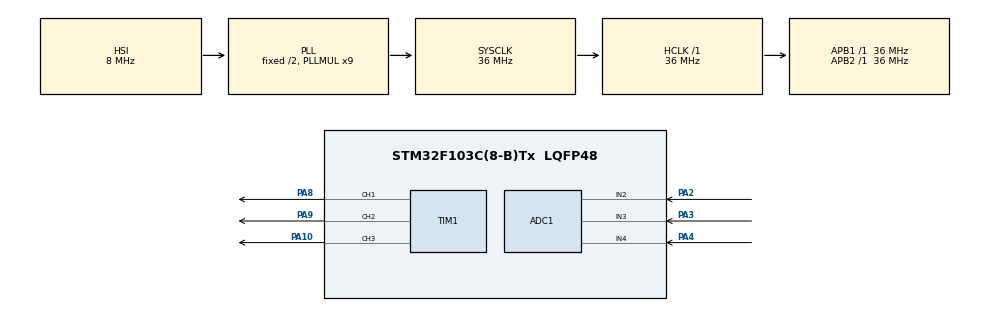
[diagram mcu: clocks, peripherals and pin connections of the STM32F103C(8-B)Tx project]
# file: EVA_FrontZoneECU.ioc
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ADC1.Channel-0\#ChannelRegularConversion=ADC_CHANNEL_2
ADC1.Channel-1\#ChannelRegularConversion=ADC_CHANNEL_2
ADC1.Channel-2\#ChannelRegularConversion=ADC_CHANNEL_2
ADC1.ContinuousConvMode=ENABLE
ADC1.NbrOfConversion=3
ADC1.NbrOfConversionFlag=1
ADC1.Rank-0\#ChannelRegularConversion=1
ADC1.Rank-1\#ChannelRegularConversion=2
ADC1.Rank-2\#ChannelRegularConversion=3
ADC1.SamplingTime-0\#ChannelRegularConversion=ADC_SAMPLETIME_1CYCLE_5
ADC1.SamplingTime-1\#ChannelRegularConversion=ADC_SAMPLETIME_1CYCLE_5
ADC1.SamplingTime-2\#ChannelRegularConversion=ADC_SAMPLETIME_1CYCLE_5
ADC1.master=1
Dma.Request0=TIM1_CH1
Dma.Request1=TIM1_CH2
Dma.Request2=TIM1_CH3
Dma.TIM1_CH1.0.Direction=DMA_MEMORY_TO_PERIPH
Dma.TIM1_CH1.0.Instance=DMA1_Channel2
Dma.TIM1_CH1.0.MemDataAlignment=DMA_MDATAALIGN_BYTE
Dma.TIM1_CH1.0.MemInc=DMA_MINC_ENABLE
Dma.TIM1_CH1.0.Mode=DMA_NORMAL
Dma.TIM1_CH1.0.PeriphDataAlignment=DMA_PDATAALIGN_HALFWORD
Dma.TIM1_CH1.0.PeriphInc=DMA_PINC_DISABLE
Dma.TIM1_CH1.0.Priority=DMA_PRIORITY_LOW
Dma.TIM1_CH2.1.Direction=DMA_MEMORY_TO_PERIPH
Dma.TIM1_CH2.1.Instance=DMA1_Channel3
Dma.TIM1_CH2.1.MemDataAlignment=DMA_MDATAALIGN_BYTE
Dma.TIM1_CH2.1.MemInc=DMA_MINC_ENABLE
Dma.TIM1_CH2.1.Mode=DMA_NORMAL
Dma.TIM1_CH2.1.PeriphDataAlignment=DMA_PDATAALIGN_HALFWORD
Dma.TIM1_CH2.1.PeriphInc=DMA_PINC_DISABLE
Dma.TIM1_CH2.1.Priority=DMA_PRIORITY_LOW
Dma.TIM1_CH3.2.Direction=DMA_MEMORY_TO_PERIPH
Dma.TIM1_CH3.2.Instance=DMA1_Channel6
Dma.TIM1_CH3.2.MemDataAlignment=DMA_MDATAALIGN_BYTE
Dma.TIM1_CH3.2.MemInc=DMA_MINC_ENABLE
Dma.TIM1_CH3.2.Mode=DMA_NORMAL
Dma.TIM1_CH3.2.PeriphDataAlignment=DMA_PDATAALIGN_HALFWORD
Dma.TIM1_CH3.2.PeriphInc=DMA_PINC_DISABLE
Dma.TIM1_CH3.2.Priority=DMA_PRIORITY_LOW
Mcu.Family=STM32F1
Mcu.Name=STM32F103C(8-B)Tx
Mcu.Package=LQFP48
NVIC.DMA1_Channel2_IRQn=true\:0\:0\:false\:false\:true\:false\:true\:true
NVIC.DMA1_Channel3_IRQn=true\:0\:0\:false\:false\:true\:false\:true\:true
NVIC.DMA1_Channel6_IRQn=true\:0\:0\:false\:false\:true\:false\:true\:true
NVIC.PriorityGroup=NVIC_PRIORITYGROUP_4
NimaLTD.I-CUBE-WS28XX.3.0.0.DriverJjWS28XX=true
PA10.Signal=S_TIM1_CH3
PA2.Signal=ADCx_IN2
PA3.Signal=ADCx_IN3
PA4.Signal=ADCx_IN4
PA8.Signal=S_TIM1_CH1
PA9.Signal=S_TIM1_CH2
ProjectManager.HeapSize=0x200
ProjectManager.StackSize=0x400
ProjectManager.TargetToolchain=STM32CubeIDE
RCC.ADCPresc=RCC_ADCPCLK2_DIV4
RCC.AHBFreq_Value=36000000
RCC.APB1Freq_Value=36000000
RCC.APB1TimFreq_Value=36000000
RCC.APB2Freq_Value=36000000
RCC.APB2TimFreq_Value=36000000
RCC.HCLKFreq_Value=36000000
RCC.PLLMUL=RCC_PLL_MUL9
RCC.SYSCLKFreq_VALUE=36000000
RCC.SYSCLKSource=RCC_SYSCLKSOURCE_PLLCLK
RCC.USBFreq_Value=36000000
SH.ADCx_IN2.0=ADC1_IN2,IN2
SH.ADCx_IN3.0=ADC1_IN3,IN3
SH.ADCx_IN4.0=ADC1_IN4,IN4
SH.S_TIM1_CH1.0=TIM1_CH1,PWM Generation1 CH1
SH.S_TIM1_CH2.0=TIM1_CH2,PWM Generation2 CH2
SH.S_TIM1_CH3.0=TIM1_CH3,PWM Generation3 CH3
TIM1.Channel-PWM\ Generation1\ CH1=TIM_CHANNEL_1
TIM1.Channel-PWM\ Generation2\ CH2=TIM_CHANNEL_2
TIM1.Channel-PWM\ Generation3\ CH3=TIM_CHANNEL_3
VP_NimaLTD.I-CUBE-WS28XX_VS_DriverJjWS28XX_1.0.0_3.0.0.Mode=DriverJjWS28XX
VP_SYS_VS_ND.Mode=No_Debug
VP_TIM1_VS_ClockSourceINT.Mode=Internal
board=custom

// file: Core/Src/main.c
/* USER CODE BEGIN Header */
/**
  ******************************************************************************
  * @file           : main.c
  * @brief          : Main program body
  ******************************************************************************
  * @attention
  *
  * Copyright (c) 2024 STMicroelectronics.
  * All rights reserved.
  *
  * This software is licensed under terms that can be found in the LICENSE file
  * in the root directory of this software component.
  * If no LICENSE file comes witstmh this software, it is provided AS-IS.
  *
  ******************************************************************************
  */
/* USER CODE END Header */
#include "main.h"
#include "adc.h"
#include "dma.h"
#include "tim.h"
#include "gpio.h"

/* USER CODE BEGIN Includes */
#include "ws28xx.h"
#include "math.h"
#include "stdlib.h"
#include "stdbool.h"
#include "stdio.h"
/* USER CODE END Includes */

/* USER CODE BEGIN PTD */
// Enum to define different LED states
typedef enum {
    DRL_MODE,          // Daytime running lights
    TURN_SIGNAL_MODE,  // Turn signal active
    HAZARD_LIGHT_MODE, // Hazard/parking light active
    STARTUP_MODE,      // Startup blinking mode
	CHARGING_MODE,
	BREATHING_MODE,
	OFF_MODE
} LED_Mode;

typedef enum {
    HORN_OFF,
    HORN_ON
} HornState;

typedef enum {
    HEADLAMP_OFF,
    HEADLAMP_LOW_BEAM,
    HEADLAMP_HIGH_BEAM
} HeadlampState;

typedef struct {
    uint8_t stable_value;
    uint8_t last_value;
    uint32_t last_debounce_time;
    uint8_t sample_count;
} DebounceState;

enum pinstate { no_change = 0, rising_edge = 1, falling_edge = 2};
/* USER CODE END PTD */

/* USER CODE BEGIN PD */
#define Clock_Frequency 36000 //KHz
#define WS28XX_LEFT_LED_COUNT 25
#define WS28XX_MIDDLE_LED_COUNT 152
#define WS28XX_RIGHT_LED_COUNT 25

#define WAVE_PACKET_SIZE 9
#define WAVE_SPEED 5 // Increase number to reduce speed
#define WAVE_STEP_SIZE 1
#define WAVE_PAUSE 10

#define HAZARD_BLINK_DELAY 500
#define DRL_BRIGHTNESS 200

#define WAVE_PACKET_SIZE_MIDDLE 4
#define STARTUP_WAVE_SPEED 1 // Increase number to reduce speed
#define MIDDLE_LED_MID_INDEX (WS28XX_MIDDLE_LED_COUNT / 2)
#define CHARGING_COLOR_AC 0x07FF
#define CHARGING_COLOR_DC 0x2444

#define AC_CHARGING 1
#define DC_CHARGING 2

#define BREATHING_DURATION 1

#define BAUD_RATE 9600
#define debounceDelay 10
#define debounceSamplesCount 5
#define DRL_REFRESH_TIME 1000
#define DEBOUNCE_DELAY 50 // 50ms debounce delay
#define DEBOUNCE_SAMPLES 5 // Minimum samples required for stable state
// Define Test_Mode to run in the test mode, this tests if the software is able to run the hardware in different states.
//#define TEST_MODE 1
#ifdef TEST_MODE
#define TOGGLE_INTERVAL 10000         // 10 seconds for state transitions
#define HORN_ON_DURATION 300          // Horn should be on for 300 ms
#endif

// Define TEST_MODE for testing state machines
//#define TEST_MODE 1
/* USER CODE END PD */

/* USER CODE BEGIN PV */
WS28XX_HandleTypeDef ws_pa8;
WS28XX_HandleTypeDef ws_pa9;
WS28XX_HandleTypeDef ws_pa10;

LED_Mode current_mode_pa8 = DRL_MODE;
LED_Mode current_mode_pa9 = DRL_MODE;
LED_Mode current_mode_pa10 = DRL_MODE;

HornState current_horn_state = HORN_OFF;
HeadlampState current_headlamp_state = HEADLAMP_OFF;

int frame_pa8 = 0, frame_pa9 = 0, frame_pa10 = 0;
int wave_count = 0;
int drl_wave_complete_middle = 0;  // Flag to indicate when the middle strip completes DRL wave
int is_drl_displayed_pa8 = 0;      // Flag for DRL display status for left strip
int is_drl_displayed_pa10 = 0;     // Flag for DRL display status for right strip
int is_drl_displayed_pa9 = 0;      // Flag for middle strip to avoid flickering

int soc_percentage = 40;  // Example value

// Control signals
int charging_signal_received = 0, drl_signal_received = 0, hazard_signal_received = 0, startup_signal_received = 1;
int turn_signal_left_received = 0, turn_signal_right_received = 0;
int horn_signal_received = 0, headlamp_low_beam_signal_received = 0, headlamp_high_beam_signal_received = 0;
int breathing_signal_received = 0;  // Breathing mode control

//uint8_t UART_received_byte = 0;
uint16_t adc_val_pa3, adc_val_pa2, adc_val_pa4;
float voltage_pa3, voltage_pa2, voltage_pa4;
const float VREF = 3.3;

static DebounceState brake_state = {1, 1, 0, 0}; // Because this signal is active low
static DebounceState horn_state = {1, 1, 0, 0};  // Because this signal is active low
static DebounceState reverse_state = {0, 0, 0, 0};
// Global debounce state for steering flags
static DebounceState turn_signal_left_flag = {0};
static DebounceState turn_signal_right_flag = {0};
static DebounceState headlamp_low_beam_flag = {0};
static DebounceState headlamp_high_beam_flag = {0};
static DebounceState drl_flag = {0};

uint8_t turn_signal_left_raw = 0;
uint8_t turn_signal_right_raw = 0;
uint8_t headlamp_low_raw = 0;
uint8_t headlamp_high_raw = 0;
uint8_t drl_signal_received_raw = 0;

#ifdef TEST_MODE
/* Variables for Test Mode */
uint32_t last_time_middle_strip = 0;  // Timing for middle strip
uint32_t last_time_left_strip = 0;    // Timing for left side strip
uint32_t last_time_right_strip = 0;   // Timing for right side strip
uint32_t last_time_side_strip = 0;
uint32_t last_time_horn = 0;          // Timing for horn
uint32_t last_time_headlamp = 0;      // Timing for headlamp
uint32_t current_time = 0;            // Horn should be on for 300 ms
#endif

/* USER CODE END PV */

void SystemClock_Config(void);
/* USER CODE BEGIN PFP */
void UpdateWaveEffect(WS28XX_HandleTypeDef* ws, int frame, int pixel_count, int direction);
void UpdateDRLMode(WS28XX_HandleTypeDef* ws, int pixel_count, int* is_drl_displayed_flag);
void UpdateHazardBlink(int led_count);
void ResetLEDStrip(WS28XX_HandleTypeDef* ws, int pixel_count);
void UpdateStartupWaveForMiddle(WS28XX_HandleTypeDef* ws);
void UpdateSOCIndication(WS28XX_HandleTypeDef* ws, int soc_percentage, int charging_type);
void HandleMiddleStripState(void);
void HandleLeftStripState(void);
void HandleRightStripState(void);
void HandleHornState(void);
void HandleHeadlampState(void);
void SetGPIOHigh(GPIO_TypeDef* GPIOx, uint16_t GPIO_Pin);
void SetGPIOLow(GPIO_TypeDef* GPIOx, uint16_t GPIO_Pin);
void GPIO_Init_PA0_PA1_PA6(void);
void UART_Init(void);
void UART_Send(uint8_t data);
bool UART_Receive(uint8_t *data, uint32_t timeout);
void ProcessUARTMessage(uint8_t received_byte);
void UART_ReceiveAndProcess(void);
void BreathingEffect(WS28XX_HandleTypeDef* ws, int duration);
void ADC_Select_CH3 (void);
void ADC_Select_CH4 (void);
void ADC_Select_CH2 (void);
void readSteeringControls(void);
void readBrakeSwitch(void);
void readReverseGear(void);
void readHorn(void);
void Init_InputPins(void);
void InitFastOutputPins(void);
void ADC_Select_CH5(void);
void ADC_Select_CH7(void);
void readHazardSwitch(void);
void DebounceFlag(DebounceState* flag_state, uint8_t raw_value);
uint8_t DetectEdge(GPIO_TypeDef* GPIOx, uint16_t GPIO_Pin, uint32_t debounce_delay);
int DebounceHazardPin(GPIO_TypeDef* GPIOx, uint16_t GPIO_Pin, uint32_t debounce_delay);
void DebounceInput(GPIO_TypeDef* GPIOx, uint16_t GPIO_Pin, DebounceState* state);
#ifdef TEST_MODE
void Handle_TestMode(void);
#endif

/* USER CODE END PFP */

int main(void)
{

  /* MCU Configuration--------------------------------------------------------*/

  /* Reset of all peripherals, Initializes the Flash interface and the Systick. */
  HAL_Init();

  /* Configure the system clock */
  SystemClock_Config();

  /* Initialize all configured peripherals */
  MX_GPIO_Init();
  MX_DMA_Init();
  MX_TIM1_Init();
  MX_ADC1_Init();
  GPIO_Init_PA0_PA1_PA6();
  InitFastOutputPins();
  /* USER CODE BEGIN 2 */
  WS28XX_Init(&ws_pa8, &htim1, 36, TIM_CHANNEL_1, WS28XX_LEFT_LED_COUNT);   // Initialize for PA8
  WS28XX_Init(&ws_pa9, &htim1, 36, TIM_CHANNEL_2, WS28XX_MIDDLE_LED_COUNT); // Initialize for PA9 (middle strip)
  WS28XX_Init(&ws_pa10, &htim1, 36, TIM_CHANNEL_3, WS28XX_RIGHT_LED_COUNT); // Initialize for PA10
  SetGPIOHigh(GPIOA, GPIO_PIN_0);  //  Horn Off
  SetGPIOHigh(GPIOA, GPIO_PIN_1);  //  Head Lamp off
  SetGPIOHigh(GPIOA, GPIO_PIN_6);  //  in Low Beam Mode
  Init_InputPins();
  /* USER CODE END 2 */

  /* Infinite loop */
  /* USER CODE BEGIN WHILE */
  while (1)
  {
//	  HAL_GPIO_WritePin(GPIOB, GPIO_PIN_2, GPIO_PIN_SET);
	// ========================
	// Handle UART Communication
	// ========================
       // UART_ReceiveAndProcess();

	// ========================
	// Handle Inputs and Update Flags
	// ========================
	readBrakeSwitch();
	readSteeringControls();
	readHorn();
	readReverseGear();
	readHazardSwitch();

	#ifdef TEST_MODE
	    Handle_TestMode();  // Call the test mode handler
	#endif
	// ========================
	// Handle State Machines
	// ========================
	  HandleMiddleStripState();
	  HandleLeftStripState();
	  HandleRightStripState();
	  HandleHornState();
	  HandleHeadlampState();
    /* USER CODE END WHILE */

  }
}

void SystemClock_Config(void)
{
  RCC_OscInitTypeDef RCC_OscInitStruct = {0};
  RCC_ClkInitTypeDef RCC_ClkInitStruct = {0};
  RCC_PeriphCLKInitTypeDef PeriphClkInit = {0};

  /** Initializes the RCC Oscillators according to the specified parameters
  * in the RCC_OscInitTypeDef structure.
  */
  RCC_OscInitStruct.OscillatorType = RCC_OSCILLATORTYPE_HSI;
  RCC_OscInitStruct.HSIState = RCC_HSI_ON;
  RCC_OscInitStruct.HSICalibrationValue = RCC_HSICALIBRATION_DEFAULT;
  RCC_OscInitStruct.PLL.PLLState = RCC_PLL_ON;
  RCC_OscInitStruct.PLL.PLLSource = RCC_PLLSOURCE_HSI_DIV2;
  RCC_OscInitStruct.PLL.PLLMUL = RCC_PLL_MUL9;
  if (HAL_RCC_OscConfig(&RCC_OscInitStruct) != HAL_OK)
  {
    Error_Handler();
  }

  /** Initializes the CPU, AHB and APB buses clocks
  */
  RCC_ClkInitStruct.ClockType = RCC_CLOCKTYPE_HCLK|RCC_CLOCKTYPE_SYSCLK
                              |RCC_CLOCKTYPE_PCLK1|RCC_CLOCKTYPE_PCLK2;
  RCC_ClkInitStruct.SYSCLKSource = RCC_SYSCLKSOURCE_PLLCLK;
  RCC_ClkInitStruct.AHBCLKDivider = RCC_SYSCLK_DIV1;
  RCC_ClkInitStruct.APB1CLKDivider = RCC_HCLK_DIV1;
  RCC_ClkInitStruct.APB2CLKDivider = RCC_HCLK_DIV1;

  if (HAL_RCC_ClockConfig(&RCC_ClkInitStruct, FLASH_LATENCY_1) != HAL_OK)
  {
    Error_Handler();
  }
  PeriphClkInit.PeriphClockSelection = RCC_PERIPHCLK_ADC;
  PeriphClkInit.AdcClockSelection = RCC_ADCPCLK2_DIV4;
  if (HAL_RCCEx_PeriphCLKConfig(&PeriphClkInit) != HAL_OK)
  {
    Error_Handler();
  }
}

/* USER CODE BEGIN 4 */
void Init_InputPins(void)
{
    GPIO_InitTypeDef GPIO_InitStruct = {0};

    // Enable clock for GPIO ports
    __HAL_RCC_GPIOB_CLK_ENABLE();
    __HAL_RCC_GPIOA_CLK_ENABLE();

    // PB12 (Horn), PB13 (Hazard), PB3 (Brake fluid): Floating if inactive, pulled down when active
    GPIO_InitStruct.Pin = GPIO_PIN_12 | GPIO_PIN_13 | GPIO_PIN_3;
    GPIO_InitStruct.Mode = GPIO_MODE_INPUT;
    GPIO_InitStruct.Pull = GPIO_PULLUP;
    HAL_GPIO_Init(GPIOB, &GPIO_InitStruct);

    // PB15 (Brake) (3.3V when inactive, GND when brake switch pressed)
    GPIO_InitStruct.Pin = GPIO_PIN_15;
    GPIO_InitStruct.Mode = GPIO_MODE_INPUT;
    GPIO_InitStruct.Pull = GPIO_PULLUP;
    HAL_GPIO_Init(GPIOB, &GPIO_InitStruct);

    // PA12 (Reverse): Pulled up when active
    GPIO_InitStruct.Pin = GPIO_PIN_12;
    GPIO_InitStruct.Mode = GPIO_MODE_INPUT;
    GPIO_InitStruct.Pull = GPIO_NOPULL;
    HAL_GPIO_Init(GPIOA, &GPIO_InitStruct);

    GPIO_InitStruct.Pin = GPIO_PIN_2;
    GPIO_InitStruct.Mode = GPIO_MODE_OUTPUT_PP; // Push-pull mode
    GPIO_InitStruct.Pull = GPIO_NOPULL;
    GPIO_InitStruct.Speed = GPIO_SPEED_FREQ_LOW; // High-speed configuration
    HAL_GPIO_Init(GPIOB, &GPIO_InitStruct);
}

void InitFastOutputPins(void)
{
    GPIO_InitTypeDef GPIO_InitStruct = {0};

    // Enable the GPIOB clock
    __HAL_RCC_GPIOB_CLK_ENABLE();

    // Configure PB4 to PB9 as fast outputs with pull-down resistors
    GPIO_InitStruct.Pin = GPIO_PIN_4 | GPIO_PIN_5 | GPIO_PIN_6 | GPIO_PIN_7 | GPIO_PIN_8 | GPIO_PIN_9;
    GPIO_InitStruct.Mode = GPIO_MODE_OUTPUT_PP; // Push-pull mode
    GPIO_InitStruct.Pull = GPIO_PULLDOWN;       // Enable pull-down resistors
    GPIO_InitStruct.Speed = GPIO_SPEED_FREQ_HIGH; // High-speed configuration
    HAL_GPIO_Init(GPIOB, &GPIO_InitStruct);

    // Set all pins to their default inactive state (low)
    HAL_GPIO_WritePin(GPIOB, GPIO_PIN_4 | GPIO_PIN_5 | GPIO_PIN_6 | GPIO_PIN_7 | GPIO_PIN_8 | GPIO_PIN_9, GPIO_PIN_RESET);

    // Configure PB4 to PB9 as fast outputs with pull-down resistors
    GPIO_InitStruct.Pin = GPIO_PIN_1;
    GPIO_InitStruct.Mode = GPIO_MODE_OUTPUT_PP; // Push-pull mode
    GPIO_InitStruct.Pull = GPIO_NOPULL;
    GPIO_InitStruct.Speed = GPIO_SPEED_FREQ_HIGH; // High-speed configuration
    HAL_GPIO_Init(GPIOB, &GPIO_InitStruct);

    HAL_GPIO_WritePin(GPIOB, GPIO_PIN_1, GPIO_PIN_SET); // Driving relay, inactive state is GPIO pin set
}

void GPIO_Init_PA0_PA1_PA6(void)
{
    // Enable GPIOA clock (assuming it's AHB1 on your microcontroller)
    RCC->APB2ENR |= RCC_APB2ENR_IOPAEN;  // Enable clock for GPIOA

    // Configure PA0, PA1, PA6 as output, push-pull, high-speed

    // PA0 Configuration
    GPIOA->CRL &= ~GPIO_CRL_CNF0;   // Clear CNF0[1:0] (set as push-pull)
    GPIOA->CRL |= GPIO_CRL_MODE0_1 | GPIO_CRL_MODE0_0;  // Set MODE0 to 11 (high-speed output 50 MHz)
    GPIOA->ODR |= GPIO_ODR_ODR0;  // Set PA0 high

    // PA1 Configuration
    GPIOA->CRL &= ~GPIO_CRL_CNF1;   // Clear CNF1[1:0] (set as push-pull)
    GPIOA->CRL |= GPIO_CRL_MODE1_1 | GPIO_CRL_MODE1_0;  // Set MODE1 to 11 (high-speed output 50 MHz)

    // PA6 Configuration
    GPIOA->CRL &= ~GPIO_CRL_CNF6;   // Clear CNF6[1:0] (set as push-pull)
    GPIOA->CRL |= GPIO_CRL_MODE6_1 | GPIO_CRL_MODE6_0;  // Set MODE6 to 11 (high-speed output 50 MHz)

    // Set PA0, PA1, PA6 initially to high (deactivate relays)
    GPIOA->ODR |= GPIO_ODR_ODR0;  // Set PA0 high
    GPIOA->ODR |= GPIO_ODR_ODR1;  // Set PA1 high
    GPIOA->ODR |= GPIO_ODR_ODR6;  // Set PA6 high
}

void HandleMiddleStripState(void) {
	// Adjusted priority code for setting current_mode_pa9
	if (charging_signal_received) {
	    current_mode_pa9 = CHARGING_MODE;  // Highest priority: Charging mode
	} else if (drl_signal_received) {
	    current_mode_pa9 = DRL_MODE;       // Next priority: DRL mode if charging is inactive
	} else if (breathing_signal_received) {
	    current_mode_pa9 = BREATHING_MODE; // Next: Breathing mode if no charging or DRL
	} else if (startup_signal_received){
	    current_mode_pa9 = STARTUP_MODE;   // Default to startup mode if no other signals are active
	}else
	{
		current_mode_pa9 = OFF_MODE;
	}

    switch (current_mode_pa9) {
        case CHARGING_MODE:
            UpdateSOCIndication(&ws_pa9, soc_percentage, DC_CHARGING);
            is_drl_displayed_pa9 = 0;
            break;
        case DRL_MODE:
            UpdateDRLMode(&ws_pa9, WS28XX_MIDDLE_LED_COUNT, &is_drl_displayed_pa9);
            break;
        case BREATHING_MODE:
            BreathingEffect(&ws_pa9, BREATHING_DURATION);  // Custom breathing color
            break;
        case STARTUP_MODE:
            UpdateStartupWaveForMiddle(&ws_pa9);
            is_drl_displayed_pa9 = 0;
            break;
        case OFF_MODE:
            ResetLEDStrip(&ws_pa9, WS28XX_MIDDLE_LED_COUNT);
            HAL_Delay(6);
            HAL_TIM_PWM_Stop_DMA(&htim1, TIM_CHANNEL_2);
            is_drl_displayed_pa9 = 0;
            break;
        default:
        	ResetLEDStrip(&ws_pa9, WS28XX_MIDDLE_LED_COUNT);
        	HAL_Delay(6);
        	HAL_TIM_PWM_Stop_DMA(&htim1, TIM_CHANNEL_2);
        	is_drl_displayed_pa9 = 0;
    }
}

void HandleLeftStripState(void) {
    static uint32_t last_blink_time_left = 0;
    uint32_t current_time = HAL_GetTick();
    static uint8_t blink_state_left = 0;

    // Priority management for left strip
    if (charging_signal_received) {
        if (hazard_signal_received) {
            current_mode_pa8 = TURN_SIGNAL_MODE;
        } else {
            current_mode_pa8 = CHARGING_MODE;
        }
    } else if (hazard_signal_received || turn_signal_left_received) {
//        current_mode_pa8 = HAZARD_LIGHT_MODE;
    	current_mode_pa8 = TURN_SIGNAL_MODE;
    } else if (drl_signal_received && !hazard_signal_received && !turn_signal_left_received) {
        current_mode_pa8 = DRL_MODE;
    } else {
        current_mode_pa8 = OFF_MODE;
    }

    // State machine for left strip (PA8)
    switch (current_mode_pa8) {
        case CHARGING_MODE:
            ResetLEDStrip(&ws_pa8, WS28XX_LEFT_LED_COUNT);
            is_drl_displayed_pa8 = 0;
            break;

//        case HAZARD_LIGHT_MODE:
////            if (current_time - last_blink_time_left >= HAZARD_BLINK_DELAY) {
////                blink_state_left = !blink_state_left; // Toggle blink state
////                if (blink_state_left)
////                {
////                    // Set all LEDs to amber
////                    for (int i = 0; i < WS28XX_LEFT_LED_COUNT; i++) {
////                        WS28XX_SetPixel_RGBW_565(&ws_pa8, i, COLOR_RGB565_AMBER, 255);
////                    }
////                    WS28XX_Update(&ws_pa8);
////                } else
////                {
////                    // Reset all LEDs to off
////                    ResetLEDStrip(&ws_pa8, WS28XX_LEFT_LED_COUNT);
////                }
////                last_blink_time_left = current_time; // Update last blink timestamp
////            }
////            is_drl_displayed_pa8 = 0; // Reset DRL flag
//            break;

        case TURN_SIGNAL_MODE:
            if (current_time - last_blink_time_left >= HAZARD_BLINK_DELAY) {
                blink_state_left = !blink_state_left; // Toggle blink state
                if (blink_state_left)
                {
                    // Set all LEDs to amber
                    for (int i = 0; i < WS28XX_LEFT_LED_COUNT; i++) {
                        WS28XX_SetPixel_RGBW_565(&ws_pa8, i, COLOR_RGB565_AMBER, 255);
                    }
                    WS28XX_Update(&ws_pa8);
                } else
                {
                    // Reset all LEDs to off
                    ResetLEDStrip(&ws_pa8, WS28XX_LEFT_LED_COUNT);
                }
                last_blink_time_left = current_time; // Update last blink timestamp
            }
            is_drl_displayed_pa8 = 0; // Reset DRL flag
            break;

        case DRL_MODE:
            frame_pa8 = 0;
            UpdateDRLMode(&ws_pa8, WS28XX_LEFT_LED_COUNT, &is_drl_displayed_pa8);
            break;

        case OFF_MODE:
            frame_pa8 = 0;
            ResetLEDStrip(&ws_pa8, WS28XX_LEFT_LED_COUNT);
            is_drl_displayed_pa8 = 0;
            break;

        default:
            current_mode_pa8 = DRL_MODE;
            break;
    }
}

void HandleRightStripState(void) {
    static uint32_t last_blink_time_right = 0;
    uint32_t current_time = HAL_GetTick();
    static uint8_t blink_state_right = 0;

    // Priority management for right strip
    if (charging_signal_received) {
        if (hazard_signal_received) {
            current_mode_pa10 = TURN_SIGNAL_MODE;
        } else {
            current_mode_pa10 = CHARGING_MODE;
        }
    } else if (hazard_signal_received||turn_signal_right_received) {
//        current_mode_pa10 = HAZARD_LIGHT_MODE;
//    } else if (turn_signal_right_received && !hazard_signal_received) {
        current_mode_pa10 = TURN_SIGNAL_MODE;
    } else if (drl_signal_received && !hazard_signal_received && !turn_signal_right_received) {
        current_mode_pa10 = DRL_MODE;
    } else {
        current_mode_pa10 = OFF_MODE;
    }

    // State machine for right strip (PA10)
    switch (current_mode_pa10) {
        case CHARGING_MODE:
            ResetLEDStrip(&ws_pa10, WS28XX_RIGHT_LED_COUNT);
            is_drl_displayed_pa10 = 0;
            break;

//        case HAZARD_LIGHT_MODE:
//            if (current_time - last_blink_time_right >= HAZARD_BLINK_DELAY) {
//                blink_state_right = !blink_state_right; // Toggle blink state
//                if (blink_state_right)
//                {
//                    // Set all LEDs to amber
//                    for (int i = 0; i < WS28XX_RIGHT_LED_COUNT; i++) {
//                        WS28XX_SetPixel_RGBW_565(&ws_pa10, i, COLOR_RGB565_AMBER, 255);
//                    }
//                    WS28XX_Update(&ws_pa10);
//                } else
//                {
//                    // Reset all LEDs to off
//                    ResetLEDStrip(&ws_pa10, WS28XX_RIGHT_LED_COUNT);
//                }
//                last_blink_time_right = current_time; // Update last blink timestamp
//            }
//            is_drl_displayed_pa10 = 0; // Reset DRL flag
//            break;

        case TURN_SIGNAL_MODE:
            if (current_time - last_blink_time_right >= HAZARD_BLINK_DELAY) {
                blink_state_right = !blink_state_right; // Toggle blink state
                if (blink_state_right)
                {
                    // Set all LEDs to amber
                    for (int i = 0; i < WS28XX_RIGHT_LED_COUNT; i++) {
                        WS28XX_SetPixel_RGBW_565(&ws_pa10, i, COLOR_RGB565_AMBER, 255);
                    }
                    WS28XX_Update(&ws_pa10);
                } else
                {
                    // Reset all LEDs to off
                    ResetLEDStrip(&ws_pa10, WS28XX_RIGHT_LED_COUNT);
                }
                last_blink_time_right = current_time; // Update last blink timestamp
            }
            is_drl_displayed_pa10 = 0; // Reset DRL flag
            break;

        case DRL_MODE:
            frame_pa10 = 0;
            UpdateDRLMode(&ws_pa10, WS28XX_RIGHT_LED_COUNT, &is_drl_displayed_pa10);
            break;

        case OFF_MODE:
            frame_pa10 = 0;
            ResetLEDStrip(&ws_pa10, WS28XX_RIGHT_LED_COUNT);
            is_drl_displayed_pa10 = 0;
            break;

        default:
            current_mode_pa10 = DRL_MODE;
            break;
    }
}

void UpdateWaveEffect(WS28XX_HandleTypeDef* ws, int frame, int pixel_count, int direction)
{
    ResetLEDStrip(ws, pixel_count);

    for (int i = 0; i < pixel_count; i++) {
        int pixel_index = (direction == 1) ? i : (pixel_count - 1 - i); // Adjust index for direction
        if (pixel_index >= frame && pixel_index < frame + WAVE_PACKET_SIZE) {
            WS28XX_SetPixel_RGBW_565(ws, pixel_index, COLOR_RGB565_AMBER, 255);
        } else {
            WS28XX_SetPixel_RGBW_565(ws, pixel_index, COLOR_RGB565_BLACK, 0);
        }
    }
    WS28XX_Update(ws);
}

void UpdateDRLMode(WS28XX_HandleTypeDef* ws, int pixel_count, int* is_drl_displayed)
{
    static uint32_t last_refresh_time = 0;  // Tracks the last refresh time
    uint32_t current_time = HAL_GetTick(); // Get the current tick count

    // Check if DRL mode is already displayed
    if (*is_drl_displayed) {
        // Refresh the DRL state every 100 ms
        if (current_time - last_refresh_time >= DRL_REFRESH_TIME) {
            last_refresh_time = current_time;

            // Reset and update DRL LEDs
//            ResetLEDStrip(ws, pixel_count);
            for (int i = 0; i < pixel_count; i++) {
                WS28XX_SetPixel_RGB_888(ws, i, COLOR_RGB888_WHITE);  // Set all LEDs to full white
            }

            WS28XX_Update(ws);  // Refresh the strip with the new DRL state
            HAL_Delay(6);
            HAL_TIM_PWM_Stop_DMA(&htim1, TIM_CHANNEL_2);
        }
        return;  // Exit function if DRL is already displayed
    }else
    {
        // If DRL is not displayed, initialize DRL mode
        ResetLEDStrip(ws, pixel_count);
        for (int i = 0; i < pixel_count; i++) {
            WS28XX_SetPixel_RGB_888(ws, i, COLOR_RGB888_WHITE);  // Set all LEDs to full white
        }

        WS28XX_Update(ws);  // Refresh the strip with the new DRL state
        HAL_Delay(6);
        HAL_TIM_PWM_Stop_DMA(&htim1, TIM_CHANNEL_2);

        // Mark DRL as displayed
        *is_drl_displayed = 1;
        last_refresh_time = current_time;  // Reset refresh timer
    }
}

void UpdateHazardBlink(int led_count)
{
    static int blink_on = 0;  // Track blink state (on/off)

    for (int i = 0; i < led_count; i++) {
        if (blink_on) {
        	WS28XX_SetPixel_RGB_565(&ws_pa10, i, COLOR_RGB565_AMBER); // Amber on for right strip
            WS28XX_SetPixel_RGB_565(&ws_pa8, i, COLOR_RGB565_AMBER);  // Amber on for left strip
        } else {
            WS28XX_SetPixel_RGB_565(&ws_pa8, i, COLOR_RGB565_BLACK);    // Off for left strip
            WS28XX_SetPixel_RGB_565(&ws_pa10, i, COLOR_RGB565_BLACK);   // Off for right strip
        }
    }
    blink_on = !blink_on;
    WS28XX_Update(&ws_pa8);
    HAL_Delay(6);
    WS28XX_Update(&ws_pa10);
}

void ResetLEDStrip(WS28XX_HandleTypeDef* ws, int pixel_count)
{
    for (int i = 0; i < pixel_count; i++) {
        WS28XX_SetPixel_RGBW_888(ws, i, COLOR_RGB888_BLACK, 0);
    }
    WS28XX_Update(ws);
}

void UpdateStartupWaveForMiddle(WS28XX_HandleTypeDef* ws)
{
    static int wave_count_middle = 0;               // To track the number of outward-inward wave passes
    static int frame_left = MIDDLE_LED_MID_INDEX;   // Start from the middle (left side)
    static int frame_right = MIDDLE_LED_MID_INDEX;  // Start from the middle (right side)
    static uint8_t wave_direction = 0;              // 0 = outward, 1 = inward
    static int last_update_time = 0;                // To control update speed
    static int drl_wave_complete_middle = 0;        // To indicate when DRL transition is complete
    static int sequential_turn_on = 0;              // Counter for sequential turn-on after waves
    int current_time = HAL_GetTick();               // Get the current system time in milliseconds

    // Phase 1: Wave Animation (Two full passes: outward and inward)
    if (wave_count_middle < 2) {
        if (current_time - last_update_time >= STARTUP_WAVE_SPEED) {
            // Outward wave animation
            if (wave_direction == 0) {
                // Turn off the previous edge LEDs
                for (int i = 0; i < 4; i++) {
                    if (frame_left + i < MIDDLE_LED_MID_INDEX) {
                        WS28XX_SetPixel_RGBW_888(ws, frame_left + i, COLOR_RGB888_BLACK, 0);
                    }
                    if (frame_right - i >= MIDDLE_LED_MID_INDEX) {
                        WS28XX_SetPixel_RGBW_888(ws, frame_right - i, COLOR_RGB888_BLACK, 0);
                    }
                }

                // Turn on the new edge LEDs
                for (int i = 0; i < 4; i++) {
                    if (frame_left - i >= 0) {
                        WS28XX_SetPixel_RGBW_888(ws, frame_left - i, COLOR_RGB888_WHITE, DRL_BRIGHTNESS);
                    }
                    if (frame_right + i < WS28XX_MIDDLE_LED_COUNT) {
                        WS28XX_SetPixel_RGBW_888(ws, frame_right + i, COLOR_RGB888_WHITE, DRL_BRIGHTNESS);
                    }
                }

                WS28XX_Update(ws);
                HAL_Delay(6);
                HAL_TIM_PWM_Stop_DMA(&htim1, TIM_CHANNEL_2);

                frame_left--;
                frame_right++;

                if (frame_left < 0 && frame_right >= WS28XX_MIDDLE_LED_COUNT) {
                    wave_direction = 1;  // Switch to inward direction
                }
            }
            // Inward wave animation
            else if (wave_direction == 1) {
                // Turn off the previous edge LEDs
                for (int i = 0; i < 4; i++) {
                    if (frame_left - i >= 0) {
                        WS28XX_SetPixel_RGBW_888(ws, frame_left - i, COLOR_RGB888_BLACK, 0);
                    }
                    if (frame_right + i < WS28XX_MIDDLE_LED_COUNT) {
                        WS28XX_SetPixel_RGBW_888(ws, frame_right + i, COLOR_RGB888_BLACK, 0);
                    }
                }

                // Turn on the new edge LEDs
                for (int i = 0; i < 4; i++) {
                    if (frame_left + i < MIDDLE_LED_MID_INDEX) {
                        WS28XX_SetPixel_RGBW_888(ws, frame_left + i, COLOR_RGB888_WHITE, DRL_BRIGHTNESS);
                    }
                    if (frame_right - i >= MIDDLE_LED_MID_INDEX) {
                        WS28XX_SetPixel_RGBW_888(ws, frame_right - i, COLOR_RGB888_WHITE, DRL_BRIGHTNESS);
                    }
                }

                WS28XX_Update(ws);
                HAL_Delay(6);
                HAL_TIM_PWM_Stop_DMA(&htim1, TIM_CHANNEL_2);

                frame_left++;
                frame_right--;

                if (frame_left >= MIDDLE_LED_MID_INDEX && frame_right <= MIDDLE_LED_MID_INDEX) {
                    frame_left = MIDDLE_LED_MID_INDEX;
                    frame_right = MIDDLE_LED_MID_INDEX;
                    wave_direction = 0;  // Reset to outward
                    wave_count_middle++;  // Increment pass count
                }
            }
            last_update_time = current_time;  // Update time for next wave step
        }

    // Phase 2: Sequential Turn-On after Two Passes
    } else if (!drl_wave_complete_middle) {
        if (current_time - last_update_time >= STARTUP_WAVE_SPEED * 2) {  // Slower speed for smooth sequential effect
            // Light up LEDs sequentially from center to edges
            WS28XX_SetPixel_RGBW_565(ws, MIDDLE_LED_MID_INDEX - sequential_turn_on, COLOR_RGB565_WHITE, DRL_BRIGHTNESS);
            WS28XX_SetPixel_RGBW_565(ws, MIDDLE_LED_MID_INDEX + sequential_turn_on, COLOR_RGB565_WHITE, DRL_BRIGHTNESS);

            WS28XX_Update(ws);
            HAL_Delay(6);
            HAL_TIM_PWM_Stop_DMA(&htim1, TIM_CHANNEL_2);
            sequential_turn_on++;

            // Check if all LEDs have been turned on
            if (sequential_turn_on >= MIDDLE_LED_MID_INDEX) {
                drl_wave_complete_middle = 1;  // Mark sequential turn-on complete
            }
            last_update_time = current_time;  // Update time for next step
        }

    // Phase 3: Transition to Steady DRL Mode (All LEDs white)
    } else {
        // Set all LEDs to DRL mode (steady white)
        for (int i = 0; i < WS28XX_MIDDLE_LED_COUNT; i++) {
            WS28XX_SetPixel_RGBW_565(ws, i, COLOR_RGB565_WHITE, DRL_BRIGHTNESS);
        }
        WS28XX_Update(ws);
        HAL_Delay(6);
        HAL_TIM_PWM_Stop_DMA(&htim1, TIM_CHANNEL_2);

        drl_signal_received = 1;  // Signal that DRL mode is active
        startup_signal_received = 0; // Turn off startup mode after one run
        wave_count_middle = 0;    // Reset wave count for future sequences
        drl_wave_complete_middle = 0;  // Reset DRL completion flag
        sequential_turn_on = 0;   // Reset sequential turn-on counter
    }
}

void BreathingEffect(WS28XX_HandleTypeDef* ws, int duration)
{
    static int last_update_time = 0;
    static uint8_t brightness = 0;
    static int increasing = 1; // 1 for increasing, 0 for decreasing
    int current_time = HAL_GetTick();

    // Adjust duration for smoother transitions
    if (current_time - last_update_time >= duration) {
        last_update_time = current_time;

        // Modify brightness increment/decrement step for smoother effect
        if (increasing) {
            brightness += 1;  // Increase brightness step by 5
            if (brightness >= 255) increasing = 0; // Reverse direction
        } else {
            brightness -= 1;
            if (brightness <= 0) increasing = 1;  // Reverse direction
        }

        // Apply brightness level to each LED
        for (int i = 0; i < ws->MaxPixel; i++) {
            WS28XX_SetPixel_RGBW_888(ws, i, COLOR_RGB888_WHITE, brightness);
        }

        WS28XX_Update(ws);  // Refresh LED strip with current brightness level
        HAL_Delay(6);
        HAL_TIM_PWM_Stop_DMA(&htim1, TIM_CHANNEL_2);
    }
}

void UpdateSOCIndication(WS28XX_HandleTypeDef* ws, int soc_percentage, int charging_type) {
    static int last_update_time = 0;
    static uint8_t charging_blink_state = 0;
    int current_time = HAL_GetTick();
    int led_count_to_light = (WS28XX_MIDDLE_LED_COUNT * soc_percentage) / 100;
    int left_led = MIDDLE_LED_MID_INDEX;
    int right_led = MIDDLE_LED_MID_INDEX;

    if (current_time - last_update_time >= 1000) {
        last_update_time = current_time;

        // Clear blinking LEDs only
        for (int i = 0; i < 10; i++) {
            if (left_led - i >= 0) {
                WS28XX_SetPixel_RGBW_565(ws, left_led - i, COLOR_RGB565_BLACK, 0);
            }
            if (right_led + i < WS28XX_MIDDLE_LED_COUNT) {
                WS28XX_SetPixel_RGBW_565(ws, right_led + i, COLOR_RGB565_BLACK, 0);
            }
        }

        // Set steady LEDs up to SOC percentage
        for (int i = 0; i < led_count_to_light / 2; i++) {
            if (left_led - i >= 0) {
                WS28XX_SetPixel_RGBW_565(ws, left_led - i,
                    (charging_type == AC_CHARGING) ? CHARGING_COLOR_AC : CHARGING_COLOR_DC, DRL_BRIGHTNESS);
            }
            if (right_led + i < WS28XX_MIDDLE_LED_COUNT) {
                WS28XX_SetPixel_RGBW_565(ws, right_led + i,
                    (charging_type == AC_CHARGING) ? CHARGING_COLOR_AC : CHARGING_COLOR_DC, DRL_BRIGHTNESS);
            }
        }

        // Blink next 10 LEDs
        charging_blink_state = !charging_blink_state;
        uint8_t blink_brightness = charging_blink_state ? DRL_BRIGHTNESS : 0;
        for (int i = 0; i < 10; i++) {
            if (left_led - (led_count_to_light / 2) - i >= 0) {
                WS28XX_SetPixel_RGBW_565(ws, left_led - (led_count_to_light / 2) - i,
                    (charging_type == AC_CHARGING) ? CHARGING_COLOR_AC : CHARGING_COLOR_DC, blink_brightness);
            }
            if (right_led + (led_count_to_light / 2) + i < WS28XX_MIDDLE_LED_COUNT) {
                WS28XX_SetPixel_RGBW_565(ws, right_led + (led_count_to_light / 2) + i,
                    (charging_type == AC_CHARGING) ? CHARGING_COLOR_AC : CHARGING_COLOR_DC, blink_brightness);
            }
        }
        WS28XX_Update(ws);
        HAL_Delay(6);
        HAL_TIM_PWM_Stop_DMA(&htim1, TIM_CHANNEL_2);

    }
}

void SetGPIOHigh(GPIO_TypeDef* GPIOx, uint16_t GPIO_Pin)
{
    HAL_GPIO_WritePin(GPIOx, GPIO_Pin, GPIO_PIN_SET);
}

void SetGPIOLow(GPIO_TypeDef* GPIOx, uint16_t GPIO_Pin)
{
    HAL_GPIO_WritePin(GPIOx, GPIO_Pin, GPIO_PIN_RESET);
}

void HandleHornState(void)
{
    if (horn_signal_received) {
        current_horn_state = HORN_ON;
    } else {
        current_horn_state = HORN_OFF;
    }

    switch (current_horn_state) {
        case HORN_ON:
            SetGPIOLow(GPIOA, GPIO_PIN_0);  // PA0 LOW to turn on the horn
            break;

        case HORN_OFF:
        default:
            SetGPIOHigh(GPIOA, GPIO_PIN_0);  // PA0 HIGH to turn off the horn
            break;
    }
}

void HandleHeadlampState(void)
{
    if (headlamp_high_beam_signal_received) {
        current_headlamp_state = HEADLAMP_HIGH_BEAM;
    } else if (headlamp_low_beam_signal_received) {
        current_headlamp_state = HEADLAMP_LOW_BEAM;
    } else {
        current_headlamp_state = HEADLAMP_OFF;
    }

    switch (current_headlamp_state) {
        case HEADLAMP_HIGH_BEAM:
            // High beam active (Both low beam and high beam relays should be on)
            SetGPIOLow(GPIOA, GPIO_PIN_1);  // PA1 LOW for headlamp power
            SetGPIOLow(GPIOA, GPIO_PIN_6);  // PA6 LOW for beam selector
            break;

        case HEADLAMP_LOW_BEAM:
            // Low beam active (Only low beam relay should be on)
            SetGPIOLow(GPIOA, GPIO_PIN_1);  // PA1 LOW for headlamp power
            SetGPIOHigh(GPIOA, GPIO_PIN_6);  // PA6 HIGH to deactivate high beam
            break;

        case HEADLAMP_OFF:
        default:
            // Headlamps off
            SetGPIOHigh(GPIOA, GPIO_PIN_1);  // PA1 HIGH to turn off the headlamp power
            SetGPIOHigh(GPIOA, GPIO_PIN_6);  // PA6 HIGH to turn off beam selector
            break;
    }
}

void readHazardSwitch(void)
{
	  uint8_t switchedge = DetectEdge(GPIOB, GPIO_PIN_13, debounceDelay);
	  uint8_t hazard_pressed = 0;

	  if (switchedge == falling_edge){
		  hazard_pressed = 1;
	  }else
	  {
		  hazard_pressed = 0;
	  }
//	  if(HAL_GPIO_ReadPin(GPIOB, GPIO_PIN_13)==GPIO_PIN_RESET && hazard_signal_received == 0){
	  if(hazard_pressed && (hazard_signal_received == 0)){ // hazard press is active low
		  HAL_GPIO_WritePin(GPIOB, GPIO_PIN_1, GPIO_PIN_RESET); // give 12 volt power through relay connected to PB1
		  HAL_GPIO_WritePin(GPIOB, GPIO_PIN_2, GPIO_PIN_SET);
		  HAL_GPIO_WritePin(GPIOB, GPIO_PIN_9, GPIO_PIN_SET); //sending signal to rear side
		  hazard_signal_received = 1;
//	  }else if(HAL_GPIO_ReadPin(GPIOB, GPIO_PIN_13)==GPIO_PIN_RESET && hazard_signal_received == 1){
	  }else if(hazard_pressed && (hazard_signal_received == 1)){
		  HAL_GPIO_WritePin(GPIOB, GPIO_PIN_1, GPIO_PIN_SET); // removing 12 volt power through relay
		  HAL_GPIO_WritePin(GPIOB, GPIO_PIN_2, GPIO_PIN_RESET);
		  HAL_GPIO_WritePin(GPIOB, GPIO_PIN_9, GPIO_PIN_RESET); //sending signal to rear side
		  hazard_signal_received = 0;
//		  HAL_Delay(100);
	  }
}

void readSteeringControls(void) {
    // Read ADC for PA3
    ADC_Select_CH3();
    HAL_ADC_Start(&hadc1);
    HAL_ADC_PollForConversion(&hadc1, 100);
    adc_val_pa3 = HAL_ADC_GetValue(&hadc1);
    voltage_pa3 = (adc_val_pa3 * VREF) / 4095.0; // Convert to voltage
    HAL_ADC_Stop(&hadc1);

    // Read ADC for PA4
    ADC_Select_CH4();
    HAL_ADC_Start(&hadc1);
    HAL_ADC_PollForConversion(&hadc1, 100);
    adc_val_pa4 = HAL_ADC_GetValue(&hadc1);
    voltage_pa4 = (adc_val_pa4 * VREF) / 4095.0; // Convert to voltage
    HAL_ADC_Stop(&hadc1);

    // Read ADC for PA2
    ADC_Select_CH2();
    HAL_ADC_Start(&hadc1);
    HAL_ADC_PollForConversion(&hadc1, 100);
    adc_val_pa2 = HAL_ADC_GetValue(&hadc1);
    voltage_pa2 = (adc_val_pa2 * VREF) / 4095.0; // Convert to voltage
    HAL_ADC_Stop(&hadc1);

    if (voltage_pa3 < 2.6 && voltage_pa3 > 2.3) {
        turn_signal_left_raw = 0;
        turn_signal_right_raw = 1;
        HAL_GPIO_WritePin(GPIOB, GPIO_PIN_8, GPIO_PIN_SET);
        HAL_GPIO_WritePin(GPIOB, GPIO_PIN_7, GPIO_PIN_RESET);
    } else if (voltage_pa3 < 1.7 && voltage_pa3 > 1.4) {
        turn_signal_right_raw = 0;
        turn_signal_left_raw = 1;
        HAL_GPIO_WritePin(GPIOB, GPIO_PIN_7, GPIO_PIN_SET);
        HAL_GPIO_WritePin(GPIOB, GPIO_PIN_8, GPIO_PIN_RESET);
    } else {
        turn_signal_right_raw = 0;
        turn_signal_left_raw = 0;
        HAL_GPIO_WritePin(GPIOB, GPIO_PIN_7, GPIO_PIN_RESET);
        HAL_GPIO_WritePin(GPIOB, GPIO_PIN_8, GPIO_PIN_RESET);
    }

    if (voltage_pa4 < 2.6 && voltage_pa4 > 2.3) {
        headlamp_high_raw = 1;
        HAL_GPIO_WritePin(GPIOB, GPIO_PIN_5, GPIO_PIN_SET);
    } else if (voltage_pa4 < 1.7 && voltage_pa4 > 1.4) {
        headlamp_high_raw = 1;
        HAL_GPIO_WritePin(GPIOB, GPIO_PIN_5, GPIO_PIN_SET);
    } else {
        headlamp_high_raw = 0;
    }

    if (voltage_pa2 < 2.4 && voltage_pa2 > 1.5) {
        headlamp_low_raw = 0;
        drl_signal_received_raw = 1;
        HAL_GPIO_WritePin(GPIOB, GPIO_PIN_5, GPIO_PIN_SET);
    } else if (voltage_pa2 < 3.0 && voltage_pa2 > 2.6) {
        HAL_GPIO_WritePin(GPIOB, GPIO_PIN_5, GPIO_PIN_SET);
        headlamp_low_raw = 1;
        drl_signal_received_raw = 1;
    } else {
        HAL_GPIO_WritePin(GPIOB, GPIO_PIN_5, GPIO_PIN_RESET);
        headlamp_low_raw = 0;
        drl_signal_received_raw = 0;
    }

    // Debounce raw values to update stable flags
    DebounceFlag(&turn_signal_left_flag, turn_signal_left_raw);
    DebounceFlag(&turn_signal_right_flag, turn_signal_right_raw);
    DebounceFlag(&headlamp_low_beam_flag, headlamp_low_raw);
    DebounceFlag(&headlamp_high_beam_flag, headlamp_high_raw);
    DebounceFlag(&drl_flag, drl_signal_received_raw);

    // Update flags with stable values
    turn_signal_left_received = turn_signal_left_flag.stable_value;
    turn_signal_right_received = turn_signal_right_flag.stable_value;
    headlamp_low_beam_signal_received = headlamp_low_beam_flag.stable_value;
    headlamp_high_beam_signal_received = headlamp_high_beam_flag.stable_value;
    drl_signal_received = drl_flag.stable_value;
}

void HAL_TIM_PWM_PulseFinishedCallback(TIM_HandleTypeDef *htim)
{
	HAL_TIM_PWM_Stop_DMA(&htim1, TIM_CHANNEL_1);
	HAL_TIM_PWM_Stop_DMA(&htim1, TIM_CHANNEL_3);
//	HAL_TIM_PWM_Stop_DMA(&htim1, TIM_CHANNEL_2); //We don't stop this PWM as this LED strip is too long and doesn't get update fast enough
}

void ADC_Select_CH3(void)
{
	ADC_ChannelConfTypeDef sConfig = {0};
	  /** Configure for the selected ADC regular channel its corresponding rank in the sequencer and its sample time.
	  */
	  sConfig.Channel = ADC_CHANNEL_3;
	  sConfig.Rank = 1;
	  sConfig.SamplingTime = ADC_SAMPLETIME_28CYCLES_5;
	  if (HAL_ADC_ConfigChannel(&hadc1, &sConfig) != HAL_OK)
	  {
	    Error_Handler();
	  }
}

void ADC_Select_CH4(void)
{
	ADC_ChannelConfTypeDef sConfig = {0};
	  /** Configure for the selected ADC regular channel its corresponding rank in the sequencer and its sample time.
	  */
	  sConfig.Channel = ADC_CHANNEL_4;
	  sConfig.Rank = 1;
	  sConfig.SamplingTime = ADC_SAMPLETIME_41CYCLES_5;
	  if (HAL_ADC_ConfigChannel(&hadc1, &sConfig) != HAL_OK)
	  {
	    Error_Handler();
	  }
}

void ADC_Select_CH2(void)
{
	ADC_ChannelConfTypeDef sConfig = {0};
	  /** Configure for the selected ADC regular channel its corresponding rank in the sequencer and its sample time.
	  */
	  sConfig.Channel = ADC_CHANNEL_2;
	  sConfig.Rank = 1;
	  sConfig.SamplingTime = ADC_SAMPLETIME_55CYCLES_5;
	  if (HAL_ADC_ConfigChannel(&hadc1, &sConfig) != HAL_OK)
	  {
	    Error_Handler();
	  }
}

//void ADC_Select_CH5(void)
//{
//	ADC_ChannelConfTypeDef sConfig = {0};
//	  /** Configure for the selected ADC regular channel its corresponding rank in the sequencer and its sample time.
//	  */
//	  sConfig.Channel = ADC_CHANNEL_5;
//	  sConfig.Rank = 1;
//	  sConfig.SamplingTime = ADC_SAMPLETIME_55CYCLES_5;
//	  if (HAL_ADC_ConfigChannel(&hadc1, &sConfig) != HAL_OK)
//	  {
//	    Error_Handler();
//	  }
//}
//
//void ADC_Select_CH7(void)
//{
//	ADC_ChannelConfTypeDef sConfig = {0};
//	  /** Configure for the selected ADC regular channel its corresponding rank in the sequencer and its sample time.
//	  */
//	  sConfig.Channel = ADC_CHANNEL_7;
//	  sConfig.Rank = 1;
//	  sConfig.SamplingTime = ADC_SAMPLETIME_55CYCLES_5;
//	  if (HAL_ADC_ConfigChannel(&hadc1, &sConfig) != HAL_OK)
//	  {
//	    Error_Handler();
//	  }
//}

void readBrakeSwitch(void) {
    DebounceInput(GPIOB, GPIO_PIN_15, &brake_state);

    if (brake_state.stable_value == GPIO_PIN_RESET) { // Active Low: Brake is pressed
        HAL_GPIO_WritePin(GPIOB, GPIO_PIN_4, GPIO_PIN_SET); // Set PB4
    } else {
        HAL_GPIO_WritePin(GPIOB, GPIO_PIN_4, GPIO_PIN_RESET); // Reset PB4
    }
}

void readHorn(void) {
    DebounceInput(GPIOB, GPIO_PIN_12, &horn_state);

    if (horn_state.stable_value == GPIO_PIN_RESET) { // Active Low: Horn is pressed
        horn_signal_received = 1; // Set horn signal flag
    } else {
        horn_signal_received = 0; // Reset horn signal flag
    }
}

void readReverseGear(void) {
    DebounceInput(GPIOA, GPIO_PIN_12, &reverse_state);

    if (reverse_state.stable_value == GPIO_PIN_SET) { // Active High: Reverse is engaged
        HAL_GPIO_WritePin(GPIOB, GPIO_PIN_6, GPIO_PIN_SET); // Set PB6
    } else {
        HAL_GPIO_WritePin(GPIOB, GPIO_PIN_6, GPIO_PIN_RESET); // Reset PB6
    }
}

int DebounceHazardPin(GPIO_TypeDef* GPIOx, uint16_t GPIO_Pin, uint32_t debounce_delay)
{
	static int keypress_begin_time = 0;
    static int last_keypress_state = 1;
    static int debounce_loop_count = 0;
    int current_keypress_state = 0;

	current_keypress_state = HAL_GPIO_ReadPin(GPIOx, GPIO_Pin);
	debounce_loop_count++;

	if (current_keypress_state != last_keypress_state)
	{
		keypress_begin_time = HAL_GetTick();
		debounce_loop_count = 0;
	}

	if (((HAL_GetTick() - keypress_begin_time) >= debounce_delay) &&( debounce_loop_count > debounceSamplesCount))
	{
		last_keypress_state = current_keypress_state;
		return current_keypress_state;
	}
	return 0;

}

uint8_t DetectEdge(GPIO_TypeDef* GPIOx, uint16_t GPIO_Pin, uint32_t debounce_delay)
{
	static int prev_pin_state = 0;
	int curr_pin_state = 0;

	curr_pin_state = DebounceHazardPin(GPIOx,GPIO_Pin,debounce_delay);

	if (prev_pin_state == 0 && curr_pin_state == 1){
		prev_pin_state = curr_pin_state;
		return rising_edge;
	}
	else if(prev_pin_state == 1 && curr_pin_state == 0) {
		prev_pin_state = curr_pin_state;
		return falling_edge;
	}
	else{
		prev_pin_state = curr_pin_state;
	return no_change;
	}
}

void DebounceInput(GPIO_TypeDef* GPIOx, uint16_t GPIO_Pin, DebounceState* state)
{
    uint8_t current_value = HAL_GPIO_ReadPin(GPIOx, GPIO_Pin);
    uint32_t current_time = HAL_GetTick();

    if (current_value != state->last_value) {
        state->last_debounce_time = current_time; // Reset debounce timer
        state->sample_count = 0;                 // Reset sample count
    }

    if ((current_time - state->last_debounce_time) >= DEBOUNCE_DELAY) {
        if (state->sample_count >= DEBOUNCE_SAMPLES) {
            state->stable_value = current_value; // Update stable value
        } else {
            state->sample_count++;
        }
    }

    state->last_value = current_value; // Update last value
}

void DebounceFlag(DebounceState* flag_state, uint8_t raw_value)
{
    uint32_t current_time = HAL_GetTick();

    if (raw_value != flag_state->last_value) {
        flag_state->last_debounce_time = current_time; // Reset debounce timer
        flag_state->sample_count = 0;                 // Reset sample count
    }

    if ((current_time - flag_state->last_debounce_time) >= 50) { // 50ms debounce delay
        if (flag_state->sample_count >= 5) { // 5 consistent samples required
            flag_state->stable_value = raw_value; // Update stable value
        } else {
            flag_state->sample_count++;
        }
    }

    flag_state->last_value = raw_value; // Update last observed value
}

#ifdef TEST_MODE
void Handle_TestMode(void)
{
    static int test_state = 0;
    static uint32_t last_state_change_time = 0;
    uint32_t current_time = HAL_GetTick();

    // Transition to the next state every 14 seconds
    if (current_time - last_state_change_time >= 14000) {
        // Reset all flags to 0
        charging_signal_received = 0;
        drl_signal_received = 0;
        hazard_signal_received = 0;
        turn_signal_left_received = 0;
        turn_signal_right_received = 0;
        horn_signal_received = 0;
        headlamp_low_beam_signal_received = 0;
        headlamp_high_beam_signal_received = 0;
        breathing_signal_received = 0;

        // Test mode states
        switch (test_state) {
            case 0:
                // Startup mode for all
                breathing_signal_received = 1; // Enable startup mode initially
                break;
            case 1:
                // Turn signals for side strips, DRL for middle strip
                turn_signal_left_received = 1;
                turn_signal_right_received = 1;
                drl_signal_received = 1;
                break;
            case 2:
                // SOC charging for middle, hazard for side strips
                charging_signal_received = 1;
                hazard_signal_received = 1;
                break;
            case 3:
                // All in DRL mode
                drl_signal_received = 1;
                break;
            default:
                // Reset the test state after the last one
                test_state = -1;
                break;
        }

        // Move to the next test state
        test_state++;
        last_state_change_time = current_time;
    }
}
#endif

//void UART_Init(void)
//{
//    // Enable clock for GPIOB and USART3
//    RCC->APB2ENR |= RCC_APB2ENR_IOPBEN;   // Enable GPIOB clock
//    RCC->APB1ENR |= RCC_APB1ENR_USART3EN; // Enable USART3 clock
//
//    // Configure PB10 (TX) and PB11 (RX)
//    GPIOB->CRH &= ~(GPIO_CRH_CNF10 | GPIO_CRH_MODE10 | GPIO_CRH_CNF11 | GPIO_CRH_MODE11); // Reset the bits first
//    GPIOB->CRH |= (GPIO_CRH_CNF10_1 | GPIO_CRH_MODE10_1);  // PB10: Alternate function push-pull for TX
//    GPIOB->CRH |= GPIO_CRH_CNF11_0;                        // PB11: Input floating for RX
//
//    // Set the baud rate
//    USART3->BRR = (Clock_Frequency * 1000) / BAUD_RATE;
//
//    // Enable USART3, TX, and RX
//    USART3->CR1 = USART_CR1_TE | USART_CR1_RE | USART_CR1_UE;
//}
//
//void UART_Send(uint8_t data)
//{
//    while (!(USART3->SR & USART_SR_TXE));  // Wait until TX buffer is empty
//    USART3->DR = data;                     // Send the data
//}
//
//bool UART_Receive(uint8_t *data, uint32_t timeout)
//{
//    uint32_t startTime = HAL_GetTick();
//    while (!(USART3->SR & USART_SR_RXNE))  // Wait until RX buffer is not empty
//    {
//        if ((HAL_GetTick() - startTime) >= timeout)
//        {
//            return false;  // Timeout reached
//        }
//    }
//    *data = (uint8_t)USART3->DR;  // Read received data
//    return true;
//}
//
//void ProcessUARTMessage(uint8_t received_byte)
//{
//    // Side LED Strips Control (Bits 4 and 5)
//    switch ((received_byte >> 4) & 0b11) {
//        case 0b00:
//            drl_signal_received = 1;         // DRL Mode
//            turn_signal_left_received = 0;
//            turn_signal_right_received = 0;
//            hazard_signal_received = 0;
//            break;
//        case 0b01:
//            drl_signal_received = 0;
//            turn_signal_left_received = 1;   // Left Turn Signal
//            turn_signal_right_received = 0;
//            hazard_signal_received = 0;
//            break;
//        case 0b10:
//            drl_signal_received = 0;
//            turn_signal_left_received = 0;
//            turn_signal_right_received = 1;  // Right Turn Signal
//            hazard_signal_received = 0;
//            break;
//        case 0b11:
//            drl_signal_received = 0;
//            turn_signal_left_received = 0;
//            turn_signal_right_received = 0;
//            hazard_signal_received = 0;      // Hazard Mode
//            break;
//    }
//
//    // Headlamp Control (Bits 1 and 2)
//    switch ((received_byte >> 1) & 0b11) {
//        case 0b00:
//            headlamp_low_beam_signal_received = 0;  // Headlamp off
//            headlamp_high_beam_signal_received = 0;
//            break;
//        case 0b01:
//            headlamp_low_beam_signal_received = 0;
//            headlamp_high_beam_signal_received = 1;  // High Beam
//            break;
//        case 0b10:
//            headlamp_low_beam_signal_received = 1;  // Low Beam
//            headlamp_high_beam_signal_received = 0;
//            break;
//        case 0b11:
//            // Don't care (keep the current headlamp state)
//            break;
//    }
//
//    // Horn Control (Bit 0)
//    horn_signal_received = (received_byte & 0b00000001);  // Horn on/off
//}
//
//void UART_ReceiveAndProcess(void)
//{
//    if (UART_Receive(&UART_received_byte, 1000)) {  // Timeout of 1000 ms
////    	UART_Send(UART_received_byte);  // Echo the received byte back to the terminal
//        ProcessUARTMessage(UART_received_byte);  // Process the byte to set flags
//    }
//}
/* USER CODE END 4 */

void Error_Handler(void)
{
  __disable_irq();
  while (1)
  {
  }
}
